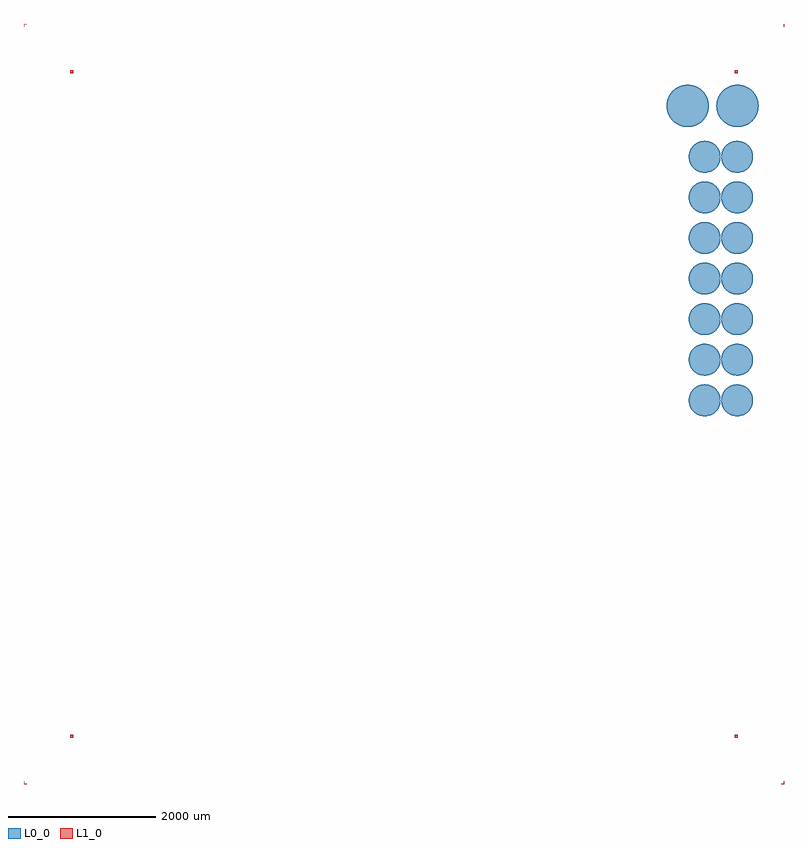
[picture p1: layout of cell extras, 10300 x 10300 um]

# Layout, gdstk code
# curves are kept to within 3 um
import gdstk
lib = gdstk.Library(unit=1e-6, precision=1e-09)
def R(c, l, rs):  # rectangles x0, y0, x1, y1
    for r in rs: c.add(gdstk.rectangle(r[:2], r[2:], *l))
def P(c, l, *ps):  # polygons
    for p in ps: c.add(gdstk.Polygon(p, *l))
L0_0 = (0, 0)
L1_0 = (1, 0)

extras = lib.new_cell('extras')
P(extras, L0_0, [(9235,9040),(9240.834,9097.37),(9256.236,9147.952),(9280.717,9194.818),(9316.78,9239.816),(9361.163,9276.634),(9412.048,9303.764),(9462.63,9319.166),(9520,9325),(9577.37,9319.166),(9627.952,9303.764),(9674.818,9279.283),(9719.816,9243.22),(9756.634,9198.837),(9783.764,9147.952),(9799.166,9097.37),(9805,9040)],
  [(9520,8755),(9462.63,8760.834),(9412.048,8776.236),(9365.182,8800.717),(9320.184,8836.78),(9283.366,8881.163),(9256.236,8932.048),(9240.834,8982.63),(9235,9040),(9805,9040),(9799.166,8982.63),(9783.764,8932.048),(9759.283,8885.182),(9723.22,8840.184),(9678.837,8803.366),(9627.952,8776.236),(9577.37,8760.834)],
  [(8560,9040),(8565.834,9097.37),(8581.236,9147.952),(8605.717,9194.818),(8641.78,9239.816),(8686.163,9276.634),(8737.048,9303.764),(8787.63,9319.166),(8845,9325),(8902.37,9319.166),(8952.952,9303.764),(8999.818,9279.283),(9044.816,9243.22),(9081.634,9198.837),(9108.764,9147.952),(9124.166,9097.37),(9130,9040)],
  [(8845,8755),(8787.63,8760.834),(8737.048,8776.236),(8690.182,8800.717),(8645.184,8836.78),(8608.366,8881.163),(8581.236,8932.048),(8565.834,8982.63),(8560,9040),(9130,9040),(9124.166,8982.63),(9108.764,8932.048),(9084.283,8885.182),(9048.22,8840.184),(9003.837,8803.366),(8952.952,8776.236),(8902.37,8760.834)],
  [(9300.5,8350),(9304.571,8391.59),(9316.628,8431.602),(9336.215,8468.516),(9362.587,8500.933),(9394.745,8527.62),(9431.467,8547.566),(9471.359,8560.014),(9512.907,8564.49),(9554.535,8560.825),(9594.663,8549.158),(9631.767,8529.933),(9667.413,8500.933),(9693.785,8468.516),(9713.372,8431.602),(9725.429,8391.59),(9729.5,8350)],
  [(9512.907,8135.51),(9471.359,8139.986),(9431.467,8152.434),(9394.745,8172.38),(9362.587,8199.067),(9336.215,8231.484),(9316.628,8268.398),(9304.571,8308.41),(9300.5,8350),(9729.5,8350),(9725.429,8308.41),(9713.372,8268.398),(9693.785,8231.484),(9667.413,8199.067),(9631.767,8170.067),(9594.663,8150.842),(9554.535,8139.175)],
  [(8860.5,8350),(8864.571,8391.59),(8876.628,8431.602),(8896.215,8468.516),(8922.587,8500.933),(8954.745,8527.62),(8991.467,8547.566),(9031.359,8560.014),(9072.907,8564.49),(9114.535,8560.825),(9154.663,8549.158),(9191.767,8529.933),(9227.413,8500.933),(9253.785,8468.516),(9273.372,8431.602),(9285.429,8391.59),(9289.5,8350)],
  [(9072.907,8135.51),(9031.359,8139.986),(8991.467,8152.434),(8954.745,8172.38),(8922.587,8199.067),(8896.215,8231.484),(8876.628,8268.398),(8864.571,8308.41),(8860.5,8350),(9289.5,8350),(9285.429,8308.41),(9273.372,8268.398),(9253.785,8231.484),(9227.413,8199.067),(9191.767,8170.067),(9154.663,8150.842),(9114.535,8139.175)],
  [(9300.5,7800),(9304.571,7841.59),(9316.628,7881.602),(9336.215,7918.516),(9362.587,7950.933),(9394.745,7977.62),(9431.467,7997.566),(9471.359,8010.014),(9512.907,8014.49),(9554.535,8010.825),(9594.663,7999.158),(9631.767,7979.933),(9667.413,7950.933),(9693.785,7918.516),(9713.372,7881.602),(9725.429,7841.59),(9729.5,7800)],
  [(9512.907,7585.51),(9471.359,7589.986),(9431.467,7602.434),(9394.745,7622.38),(9362.587,7649.067),(9336.215,7681.484),(9316.628,7718.398),(9304.571,7758.41),(9300.5,7800),(9729.5,7800),(9725.429,7758.41),(9713.372,7718.398),(9693.785,7681.484),(9667.413,7649.067),(9631.767,7620.067),(9594.663,7600.842),(9554.535,7589.175)],
  [(8860.5,7800),(8864.571,7841.59),(8876.628,7881.602),(8896.215,7918.516),(8922.587,7950.933),(8954.745,7977.62),(8991.467,7997.566),(9031.359,8010.014),(9072.907,8014.49),(9114.535,8010.825),(9154.663,7999.158),(9191.767,7979.933),(9227.413,7950.933),(9253.785,7918.516),(9273.372,7881.602),(9285.429,7841.59),(9289.5,7800)],
  [(9072.907,7585.51),(9031.359,7589.986),(8991.467,7602.434),(8954.745,7622.38),(8922.587,7649.067),(8896.215,7681.484),(8876.628,7718.398),(8864.571,7758.41),(8860.5,7800),(9289.5,7800),(9285.429,7758.41),(9273.372,7718.398),(9253.785,7681.484),(9227.413,7649.067),(9191.767,7620.067),(9154.663,7600.842),(9114.535,7589.175)],
  [(9300.5,7250),(9304.571,7291.59),(9316.628,7331.602),(9336.215,7368.516),(9362.587,7400.933),(9394.745,7427.62),(9431.467,7447.566),(9471.359,7460.014),(9512.907,7464.49),(9554.535,7460.825),(9594.663,7449.158),(9631.767,7429.933),(9667.413,7400.933),(9693.785,7368.516),(9713.372,7331.602),(9725.429,7291.59),(9729.5,7250)],
  [(9512.907,7035.51),(9471.359,7039.986),(9431.467,7052.434),(9394.745,7072.38),(9362.587,7099.067),(9336.215,7131.484),(9316.628,7168.398),(9304.571,7208.41),(9300.5,7250),(9729.5,7250),(9725.429,7208.41),(9713.372,7168.398),(9693.785,7131.484),(9667.413,7099.067),(9631.767,7070.067),(9594.663,7050.842),(9554.535,7039.175)],
  [(8860.5,7250),(8864.571,7291.59),(8876.628,7331.602),(8896.215,7368.516),(8922.587,7400.933),(8954.745,7427.62),(8991.467,7447.566),(9031.359,7460.014),(9072.907,7464.49),(9114.535,7460.825),(9154.663,7449.158),(9191.767,7429.933),(9227.413,7400.933),(9253.785,7368.516),(9273.372,7331.602),(9285.429,7291.59),(9289.5,7250)],
  [(9072.907,7035.51),(9031.359,7039.986),(8991.467,7052.434),(8954.745,7072.38),(8922.587,7099.067),(8896.215,7131.484),(8876.628,7168.398),(8864.571,7208.41),(8860.5,7250),(9289.5,7250),(9285.429,7208.41),(9273.372,7168.398),(9253.785,7131.484),(9227.413,7099.067),(9191.767,7070.067),(9154.663,7050.842),(9114.535,7039.175)],
  [(9300.5,6700),(9304.571,6741.59),(9316.628,6781.602),(9336.215,6818.516),(9362.587,6850.933),(9394.745,6877.62),(9431.467,6897.566),(9471.359,6910.014),(9512.907,6914.49),(9554.535,6910.825),(9594.663,6899.158),(9631.767,6879.933),(9667.413,6850.933),(9693.785,6818.516),(9713.372,6781.602),(9725.429,6741.59),(9729.5,6700)],
  [(9512.907,6485.51),(9471.359,6489.986),(9431.467,6502.434),(9394.745,6522.38),(9362.587,6549.067),(9336.215,6581.484),(9316.628,6618.398),(9304.571,6658.41),(9300.5,6700),(9729.5,6700),(9725.429,6658.41),(9713.372,6618.398),(9693.785,6581.484),(9667.413,6549.067),(9631.767,6520.067),(9594.663,6500.842),(9554.535,6489.175)],
  [(8860.5,6700),(8864.571,6741.59),(8876.628,6781.602),(8896.215,6818.516),(8922.587,6850.933),(8954.745,6877.62),(8991.467,6897.566),(9031.359,6910.014),(9072.907,6914.49),(9114.535,6910.825),(9154.663,6899.158),(9191.767,6879.933),(9227.413,6850.933),(9253.785,6818.516),(9273.372,6781.602),(9285.429,6741.59),(9289.5,6700)],
  [(9072.907,6485.51),(9031.359,6489.986),(8991.467,6502.434),(8954.745,6522.38),(8922.587,6549.067),(8896.215,6581.484),(8876.628,6618.398),(8864.571,6658.41),(8860.5,6700),(9289.5,6700),(9285.429,6658.41),(9273.372,6618.398),(9253.785,6581.484),(9227.413,6549.067),(9191.767,6520.067),(9154.663,6500.842),(9114.535,6489.175)],
  [(9300.5,6150),(9304.571,6191.59),(9316.628,6231.602),(9336.215,6268.516),(9362.587,6300.933),(9394.745,6327.62),(9431.467,6347.566),(9471.359,6360.014),(9512.907,6364.49),(9554.535,6360.825),(9594.663,6349.158),(9631.767,6329.933),(9667.413,6300.933),(9693.785,6268.516),(9713.372,6231.602),(9725.429,6191.59),(9729.5,6150)],
  [(9512.907,5935.51),(9471.359,5939.986),(9431.467,5952.434),(9394.745,5972.38),(9362.587,5999.067),(9336.215,6031.484),(9316.628,6068.398),(9304.571,6108.41),(9300.5,6150),(9729.5,6150),(9725.429,6108.41),(9713.372,6068.398),(9693.785,6031.484),(9667.413,5999.067),(9631.767,5970.067),(9594.663,5950.842),(9554.535,5939.175)],
  [(8860.5,6150),(8864.571,6191.59),(8876.628,6231.602),(8896.215,6268.516),(8922.587,6300.933),(8954.745,6327.62),(8991.467,6347.566),(9031.359,6360.014),(9072.907,6364.49),(9114.535,6360.825),(9154.663,6349.158),(9191.767,6329.933),(9227.413,6300.933),(9253.785,6268.516),(9273.372,6231.602),(9285.429,6191.59),(9289.5,6150)],
  [(9072.907,5935.51),(9031.359,5939.986),(8991.467,5952.434),(8954.745,5972.38),(8922.587,5999.067),(8896.215,6031.484),(8876.628,6068.398),(8864.571,6108.41),(8860.5,6150),(9289.5,6150),(9285.429,6108.41),(9273.372,6068.398),(9253.785,6031.484),(9227.413,5999.067),(9191.767,5970.067),(9154.663,5950.842),(9114.535,5939.175)],
  [(9300.5,5600),(9304.571,5641.59),(9316.628,5681.602),(9336.215,5718.516),(9362.587,5750.933),(9394.745,5777.62),(9431.467,5797.566),(9471.359,5810.014),(9512.907,5814.49),(9554.535,5810.825),(9594.663,5799.158),(9631.767,5779.933),(9667.413,5750.933),(9693.785,5718.516),(9713.372,5681.602),(9725.429,5641.59),(9729.5,5600)],
  [(9512.907,5385.51),(9471.359,5389.986),(9431.467,5402.434),(9394.745,5422.38),(9362.587,5449.067),(9336.215,5481.484),(9316.628,5518.398),(9304.571,5558.41),(9300.5,5600),(9729.5,5600),(9725.429,5558.41),(9713.372,5518.398),(9693.785,5481.484),(9667.413,5449.067),(9631.767,5420.067),(9594.663,5400.842),(9554.535,5389.175)],
  [(8860.5,5600),(8864.571,5641.59),(8876.628,5681.602),(8896.215,5718.516),(8922.587,5750.933),(8954.745,5777.62),(8991.467,5797.566),(9031.359,5810.014),(9072.907,5814.49),(9114.535,5810.825),(9154.663,5799.158),(9191.767,5779.933),(9227.413,5750.933),(9253.785,5718.516),(9273.372,5681.602),(9285.429,5641.59),(9289.5,5600)],
  [(9072.907,5385.51),(9031.359,5389.986),(8991.467,5402.434),(8954.745,5422.38),(8922.587,5449.067),(8896.215,5481.484),(8876.628,5518.398),(8864.571,5558.41),(8860.5,5600),(9289.5,5600),(9285.429,5558.41),(9273.372,5518.398),(9253.785,5481.484),(9227.413,5449.067),(9191.767,5420.067),(9154.663,5400.842),(9114.535,5389.175)],
  [(9300.5,5050),(9304.571,5091.59),(9316.628,5131.602),(9336.215,5168.516),(9362.587,5200.933),(9394.745,5227.62),(9431.467,5247.566),(9471.359,5260.014),(9512.907,5264.49),(9554.535,5260.825),(9594.663,5249.158),(9631.767,5229.933),(9667.413,5200.933),(9693.785,5168.516),(9713.372,5131.602),(9725.429,5091.59),(9729.5,5050)],
  [(9512.907,4835.51),(9471.359,4839.986),(9431.467,4852.434),(9394.745,4872.38),(9362.587,4899.067),(9336.215,4931.484),(9316.628,4968.398),(9304.571,5008.41),(9300.5,5050),(9729.5,5050),(9725.429,5008.41),(9713.372,4968.398),(9693.785,4931.484),(9667.413,4899.067),(9631.767,4870.067),(9594.663,4850.842),(9554.535,4839.175)],
  [(8860.5,5050),(8864.571,5091.59),(8876.628,5131.602),(8896.215,5168.516),(8922.587,5200.933),(8954.745,5227.62),(8991.467,5247.566),(9031.359,5260.014),(9072.907,5264.49),(9114.535,5260.825),(9154.663,5249.158),(9191.767,5229.933),(9227.413,5200.933),(9253.785,5168.516),(9273.372,5131.602),(9285.429,5091.59),(9289.5,5050)],
  [(9072.907,4835.51),(9031.359,4839.986),(8991.467,4852.434),(8954.745,4872.38),(8922.587,4899.067),(8896.215,4931.484),(8876.628,4968.398),(8864.571,5008.41),(8860.5,5050),(9289.5,5050),(9285.429,5008.41),(9273.372,4968.398),(9253.785,4931.484),(9227.413,4899.067),(9191.767,4870.067),(9154.663,4850.842),(9114.535,4839.175)])
R(extras, L1_0, [(480,480,520,520), (9480,480,9520,520), (480,9480,520,9520), (9480,9480,9520,9520)])
P(extras, L1_0, [(-150,-150),(-150,-110),(-146.5,-110),(-146.5,-146.5),(-110,-146.5),(-110,-150)],
  [(10110,-150),(10110,-146.5),(10146.5,-146.5),(10146.5,-110),(10150,-110),(10150,-150)],
  [(10146.5,10110),(10146.5,10146.5),(10110,10146.5),(10110,10150),(10150,10150),(10150,10110)],
  [(-150,10110),(-150,10150),(-110,10150),(-110,10146.5),(-146.5,10146.5),(-146.5,10110)])

lib.write_gds('extras.gds')
